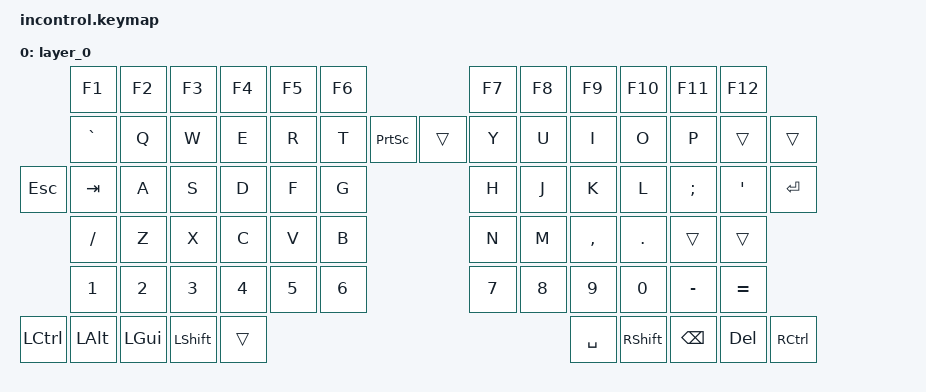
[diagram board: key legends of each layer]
#include <behaviors.dtsi>
#include <dt-bindings/zmk/keys.h>

/ {
    keymap {
        compatible = "zmk,keymap";

        layer_0 {
            bindings = <
           &kp F1     &kp F2  &kp F3    &kp F4    &kp F5     &kp F6                           &kp F7     &kp F8     &kp F9     &kp F10  &kp F11    &kp F12
           &kp GRAVE  &kp Q   &kp W     &kp E     &kp R      &kp T   &kp PRINTSCREEN  &trans  &kp Y      &kp U      &kp I      &kp O    &kp P      &trans     &trans
&kp ESC    &kp TAB    &kp A   &kp S     &kp D     &kp F      &kp G                            &kp H      &kp J      &kp K      &kp L    &kp SEMI   &kp SQT    &kp RET
           &kp FSLH   &kp Z   &kp X     &kp C     &kp V      &kp B                            &kp N      &kp M      &kp COMMA  &kp DOT  &trans     &trans
           &kp N1     &kp N2  &kp N3    &kp N4    &kp N5     &kp N6                           &kp N7     &kp N8     &kp N9     &kp N0   &kp MINUS  &kp EQUAL
&kp LCTRL                     &kp LALT  &kp LGUI  &kp LSHFT  &trans                           &kp SPACE  &kp RSHFT  &kp BSPC   &kp DEL                        &kp RCTRL
            >;
        };
    };
};
